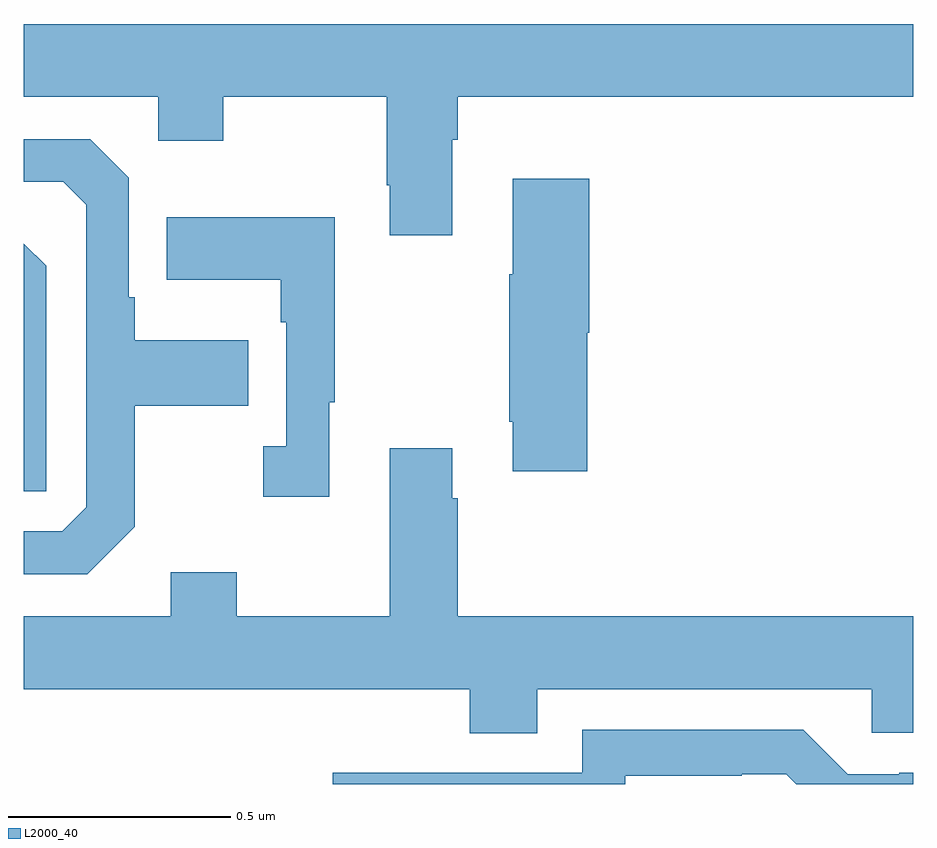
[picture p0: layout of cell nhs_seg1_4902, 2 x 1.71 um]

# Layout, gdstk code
import gdstk
lib = gdstk.Library(unit=1e-6, precision=1e-09)
def P(c, l, *ps):  # polygons
    for p in ps: c.add(gdstk.Polygon(p, *l))
L2000_40 = (2000, 40)

nhs_seg1_4902 = lib.new_cell('nhs_seg1_4902')
P(nhs_seg1_4902, L2000_40, [(172.963,539.648),(172.976,539.648),(172.976,539.744),(174,539.744),(174,539.908),(172,539.908),(172,539.744),(172.302,539.744),(172.302,539.645),(172.449,539.645),(172.449,539.744),(172.816,539.744),(172.816,539.545),(172.823,539.545),(172.823,539.433),(172.963,539.433)],
  [(172.249,538.777),(172.249,539.05),(172.505,539.05),(172.505,539.197),(172.249,539.197),(172.249,539.293),(172.236,539.293),(172.236,539.562),(172.149,539.649),(172,539.649),(172,539.553),(172.089,539.553),(172.14,539.502),(172.14,538.821),(172.086,538.767),(172,538.767),(172,538.671),(172.143,538.671)],
  [(173.267,539.214),(173.272,539.214),(173.272,539.56),(173.099,539.56),(173.099,539.345),(173.092,539.345),(173.092,539.014),(173.099,539.014),(173.099,538.902),(173.267,538.902)],
  [(172.687,539.057),(172.699,539.057),(172.699,539.473),(172.321,539.473),(172.321,539.333),(172.578,539.333),(172.578,539.237),(172.59,539.237),(172.59,538.958),(172.539,538.958),(172.539,538.845),(172.687,538.845)],
  [(172.05,539.364),(172,539.414),(172,538.857),(172.05,538.857)],
  [(173.155,538.412),(173.907,538.412),(173.907,538.314),(174,538.314),(174,538.576),(172.976,538.576),(172.976,538.841),(172.963,538.841),(172.963,538.954),(172.823,538.954),(172.823,538.576),(172.479,538.576),(172.479,538.675),(172.331,538.675),(172.331,538.576),(172,538.576),(172,538.412),(173.003,538.412),(173.003,538.313),(173.155,538.313)],
  [(173.352,538.217),(173.615,538.217),(173.615,538.221),(173.715,538.221),(173.737,538.199),(174,538.199),(174,538.224),(173.969,538.224),(173.969,538.221),(173.853,538.221),(173.753,538.321),(173.256,538.321),(173.256,538.224),(172.695,538.224),(172.695,538.199),(173.352,538.199)])

lib.write_gds('nhs_seg1_4902.gds')
